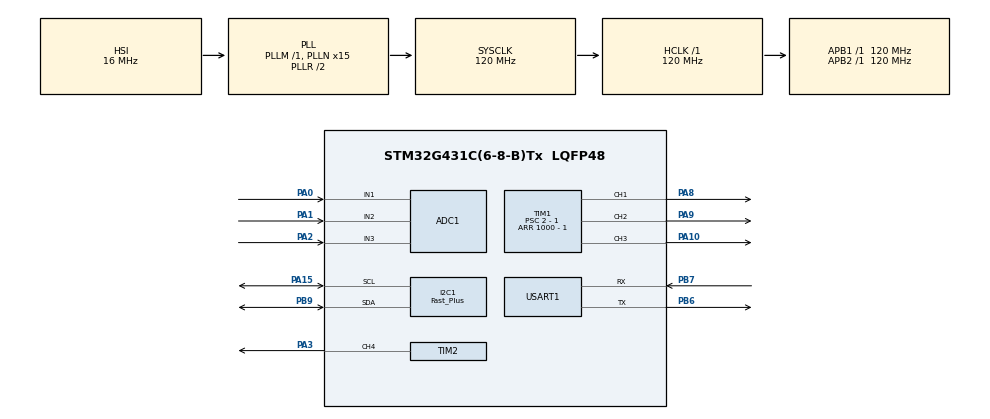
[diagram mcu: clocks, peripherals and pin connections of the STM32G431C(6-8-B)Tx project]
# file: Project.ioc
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ADC1.Channel-0\#ChannelRegularConversion=ADC_CHANNEL_1
ADC1.Channel-1\#ChannelRegularConversion=ADC_CHANNEL_2
ADC1.Channel-2\#ChannelRegularConversion=ADC_CHANNEL_3
ADC1.ClockPrescaler=ADC_CLOCK_SYNC_PCLK_DIV2
ADC1.DMAContinuousRequests=ENABLE
ADC1.EOCSelection=ADC_EOC_SINGLE_CONV
ADC1.ExternalTrigConv=ADC_EXTERNALTRIG_T1_TRGO
ADC1.NbrOfConversion=3
ADC1.NbrOfConversionFlag=1
ADC1.OffsetNumber-0\#ChannelRegularConversion=ADC_OFFSET_NONE
ADC1.OffsetNumber-1\#ChannelRegularConversion=ADC_OFFSET_NONE
ADC1.OffsetNumber-2\#ChannelRegularConversion=ADC_OFFSET_NONE
ADC1.Rank-0\#ChannelRegularConversion=1
ADC1.Rank-1\#ChannelRegularConversion=2
ADC1.Rank-2\#ChannelRegularConversion=3
ADC1.SamplingTime-0\#ChannelRegularConversion=ADC_SAMPLETIME_2CYCLES_5
ADC1.SamplingTime-1\#ChannelRegularConversion=ADC_SAMPLETIME_2CYCLES_5
ADC1.SamplingTime-2\#ChannelRegularConversion=ADC_SAMPLETIME_2CYCLES_5
ADC1.master=1
Dma.ADC1.1.Direction=DMA_PERIPH_TO_MEMORY
Dma.ADC1.1.EventEnable=DISABLE
Dma.ADC1.1.Instance=DMA1_Channel2
Dma.ADC1.1.MemDataAlignment=DMA_MDATAALIGN_WORD
Dma.ADC1.1.MemInc=DMA_MINC_ENABLE
Dma.ADC1.1.Mode=DMA_CIRCULAR
Dma.ADC1.1.PeriphDataAlignment=DMA_PDATAALIGN_WORD
Dma.ADC1.1.PeriphInc=DMA_PINC_DISABLE
Dma.ADC1.1.Polarity=HAL_DMAMUX_REQ_GEN_RISING
Dma.ADC1.1.Priority=DMA_PRIORITY_HIGH
Dma.ADC1.1.RequestNumber=1
Dma.ADC1.1.SignalID=NONE
Dma.ADC1.1.SyncEnable=DISABLE
Dma.ADC1.1.SyncPolarity=HAL_DMAMUX_SYNC_NO_EVENT
Dma.ADC1.1.SyncRequestNumber=1
Dma.ADC1.1.SyncSignalID=NONE
Dma.Request0=USART1_RX
Dma.Request1=ADC1
Dma.USART1_RX.0.Direction=DMA_PERIPH_TO_MEMORY
Dma.USART1_RX.0.EventEnable=DISABLE
Dma.USART1_RX.0.Instance=DMA1_Channel1
Dma.USART1_RX.0.MemDataAlignment=DMA_MDATAALIGN_BYTE
Dma.USART1_RX.0.MemInc=DMA_MINC_ENABLE
Dma.USART1_RX.0.Mode=DMA_CIRCULAR
Dma.USART1_RX.0.PeriphDataAlignment=DMA_PDATAALIGN_BYTE
Dma.USART1_RX.0.PeriphInc=DMA_PINC_DISABLE
Dma.USART1_RX.0.Polarity=HAL_DMAMUX_REQ_GEN_RISING
Dma.USART1_RX.0.Priority=DMA_PRIORITY_MEDIUM
Dma.USART1_RX.0.RequestNumber=1
Dma.USART1_RX.0.SignalID=NONE
Dma.USART1_RX.0.SyncEnable=DISABLE
Dma.USART1_RX.0.SyncPolarity=HAL_DMAMUX_SYNC_NO_EVENT
Dma.USART1_RX.0.SyncRequestNumber=1
Dma.USART1_RX.0.SyncSignalID=NONE
I2C1.I2C_Speed_Mode=I2C_Fast_Plus
I2C1.Timing=0x10820B1B
Mcu.Family=STM32G4
Mcu.Name=STM32G431C(6-8-B)Tx
Mcu.Package=LQFP48
NVIC.DMA1_Channel1_IRQn=true\:0\:0\:false\:false\:true\:false\:true\:true
NVIC.DMA1_Channel2_IRQn=true\:0\:0\:false\:false\:true\:false\:true\:true
NVIC.PriorityGroup=NVIC_PRIORITYGROUP_4
NVIC.USART1_IRQn=true\:0\:0\:false\:false\:true\:true\:true\:true
PA0.Mode=IN1-Single-Ended
PA0.Signal=ADC1_IN1
PA1.Mode=IN2-Single-Ended
PA1.Signal=ADC1_IN2
PA10.Signal=S_TIM1_CH3
PA13.Mode=Serial_Wire
PA13.Signal=SYS_JTMS-SWDIO
PA14.Mode=Serial_Wire
PA14.Signal=SYS_JTCK-SWCLK
PA15.Mode=I2C
PA15.Signal=I2C1_SCL
PA2.Mode=IN3-Single-Ended
PA2.Signal=ADC1_IN3
PA3.Signal=S_TIM2_CH4
PA8.Signal=S_TIM1_CH1
PA9.Signal=S_TIM1_CH2
PB6.Mode=Asynchronous
PB6.Signal=USART1_TX
PB7.Mode=Asynchronous
PB7.Signal=USART1_RX
PB9.Mode=I2C
PB9.Signal=I2C1_SDA
ProjectManager.HeapSize=0x200
ProjectManager.StackSize=0x400
ProjectManager.TargetToolchain=MDK-ARM V5.32
RCC.ADC12Freq_Value=120000000
RCC.AHBFreq_Value=120000000
RCC.APB1Freq_Value=120000000
RCC.APB1TimFreq_Value=120000000
RCC.APB2Freq_Value=120000000
RCC.APB2TimFreq_Value=120000000
RCC.CortexFreq_Value=120000000
RCC.EXTERNAL_CLOCK_VALUE=12288000
RCC.HCLKFreq_Value=120000000
RCC.HSE_VALUE=8000000
RCC.HSI48_VALUE=48000000
RCC.HSI_VALUE=16000000
RCC.LSE_VALUE=32768
RCC.PLLN=15
RCC.SYSCLKFreq_VALUE=120000000
RCC.SYSCLKSource=RCC_SYSCLKSOURCE_PLLCLK
RCC.USBFreq_Value=120000000
RCC.VCOOutputFreq_Value=240000000
SH.S_TIM1_CH1.0=TIM1_CH1,PWM Generation1 CH1
SH.S_TIM1_CH2.0=TIM1_CH2,PWM Generation2 CH2
SH.S_TIM1_CH3.0=TIM1_CH3,PWM Generation3 CH3
SH.S_TIM2_CH4.0=TIM2_CH4,PWM Generation4 CH4
TIM1.Channel-PWM\ Generation1\ CH1=TIM_CHANNEL_1
TIM1.Channel-PWM\ Generation2\ CH2=TIM_CHANNEL_2
TIM1.Channel-PWM\ Generation3\ CH3=TIM_CHANNEL_3
TIM1.CounterMode=TIM_COUNTERMODE_CENTERALIGNED1
TIM1.PeriodNoDither=1000 - 1
TIM1.Prescaler=2 - 1
TIM1.TIM_MasterOutputTrigger=TIM_TRGO_UPDATE
TIM1.TIM_MasterSlaveMode=TIM_MASTERSLAVEMODE_DISABLE
TIM2.Channel-PWM\ Generation4\ CH4=TIM_CHANNEL_4
TIM2.PeriodNoDither=1000 - 1
TIM2.Prescaler=120 - 1
USART1.VirtualMode-Asynchronous=VM_ASYNC
VP_SYS_VS_DBSignals.Mode=DisableDeadBatterySignals
VP_TIM1_VS_ClockSourceINT.Mode=Internal
VP_TIM2_VS_ClockSourceINT.Mode=Internal
board=custom

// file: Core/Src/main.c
/* USER CODE BEGIN Header */
/**
  ******************************************************************************
  * @file           : main.c
  * @brief          : Main program body
  电流采样与转换
  ******************************************************************************
  * @attention
  *
  * Copyright (c) 2026 STMicroelectronics.
  * All rights reserved.
  *
  * This software is licensed under terms that can be found in the LICENSE file
  * in the root directory of this software component.
  * If no LICENSE file comes with this software, it is provided AS-IS.
  *
  ******************************************************************************
  */
/* USER CODE END Header */
#include "main.h"
#include "adc.h"
#include "dma.h"
#include "i2c.h"
#include "tim.h"
#include "usart.h"
#include "gpio.h"

/* USER CODE BEGIN Includes */
#include <math.h>
#include "Driver.h"
#include "Encoder.h"
#include "Serial.h"
#include "PID.h"
#include "Beep.h"
#include "CurrentMeasure.h"

/* USER CODE END Includes */

void SystemClock_Config(void);

/* USER CODE BEGIN 0 */
float *phaseCurrent, *rightangledCurrent;
/* USER CODE END 0 */

int main(void)
{

  /* MCU Configuration--------------------------------------------------------*/

  /* Reset of all peripherals, Initializes the Flash interface and the Systick. */
  HAL_Init();

  /* Configure the system clock */
  SystemClock_Config();

  /* Initialize all configured peripherals */
  MX_GPIO_Init();
  MX_DMA_Init();
  MX_TIM1_Init();
  MX_I2C1_Init();
  MX_USART1_UART_Init();
  MX_TIM2_Init();
  MX_ADC1_Init();
  /* USER CODE BEGIN 2 */
  Serial_Init();   // 初始化串口
  Driver_Init();
  Encoder_Init();
  CurrentMeasure_Init();

  /* USER CODE END 2 */

  /* Infinite loop */
  /* USER CODE BEGIN WHILE */
  while (1)
  {
	  Driver_SetVelocityOL(1, 3);
//	  // 测量abc三相电流
//	  phaseCurrent = CurrentMeasure_GetPhaseCurrent();
//	  VOFA_SendData(phaseCurrent[0], phaseCurrent[1], phaseCurrent[2], 0.0f);
	  // 测量dq轴电流
	  rightangledCurrent = CurrentMeasure_GetRightangledCurrent();
	  VOFA_SendData(rightangledCurrent[0], rightangledCurrent[1], 0.0f, 0.0f);
    /* USER CODE END WHILE */

  }
}

void SystemClock_Config(void)
{
  RCC_OscInitTypeDef RCC_OscInitStruct = {0};
  RCC_ClkInitTypeDef RCC_ClkInitStruct = {0};

  /** Configure the main internal regulator output voltage
  */
  HAL_PWREx_ControlVoltageScaling(PWR_REGULATOR_VOLTAGE_SCALE1);

  /** Initializes the RCC Oscillators according to the specified parameters
  * in the RCC_OscInitTypeDef structure.
  */
  RCC_OscInitStruct.OscillatorType = RCC_OSCILLATORTYPE_HSI;
  RCC_OscInitStruct.HSIState = RCC_HSI_ON;
  RCC_OscInitStruct.HSICalibrationValue = RCC_HSICALIBRATION_DEFAULT;
  RCC_OscInitStruct.PLL.PLLState = RCC_PLL_ON;
  RCC_OscInitStruct.PLL.PLLSource = RCC_PLLSOURCE_HSI;
  RCC_OscInitStruct.PLL.PLLM = RCC_PLLM_DIV1;
  RCC_OscInitStruct.PLL.PLLN = 15;
  RCC_OscInitStruct.PLL.PLLP = RCC_PLLP_DIV2;
  RCC_OscInitStruct.PLL.PLLQ = RCC_PLLQ_DIV2;
  RCC_OscInitStruct.PLL.PLLR = RCC_PLLR_DIV2;
  if (HAL_RCC_OscConfig(&RCC_OscInitStruct) != HAL_OK)
  {
    Error_Handler();
  }

  /** Initializes the CPU, AHB and APB buses clocks
  */
  RCC_ClkInitStruct.ClockType = RCC_CLOCKTYPE_HCLK|RCC_CLOCKTYPE_SYSCLK
                              |RCC_CLOCKTYPE_PCLK1|RCC_CLOCKTYPE_PCLK2;
  RCC_ClkInitStruct.SYSCLKSource = RCC_SYSCLKSOURCE_PLLCLK;
  RCC_ClkInitStruct.AHBCLKDivider = RCC_SYSCLK_DIV1;
  RCC_ClkInitStruct.APB1CLKDivider = RCC_HCLK_DIV1;
  RCC_ClkInitStruct.APB2CLKDivider = RCC_HCLK_DIV1;

  if (HAL_RCC_ClockConfig(&RCC_ClkInitStruct, FLASH_LATENCY_3) != HAL_OK)
  {
    Error_Handler();
  }
}

void Error_Handler(void)
{
  __disable_irq();
  while (1)
  {
  }
}
